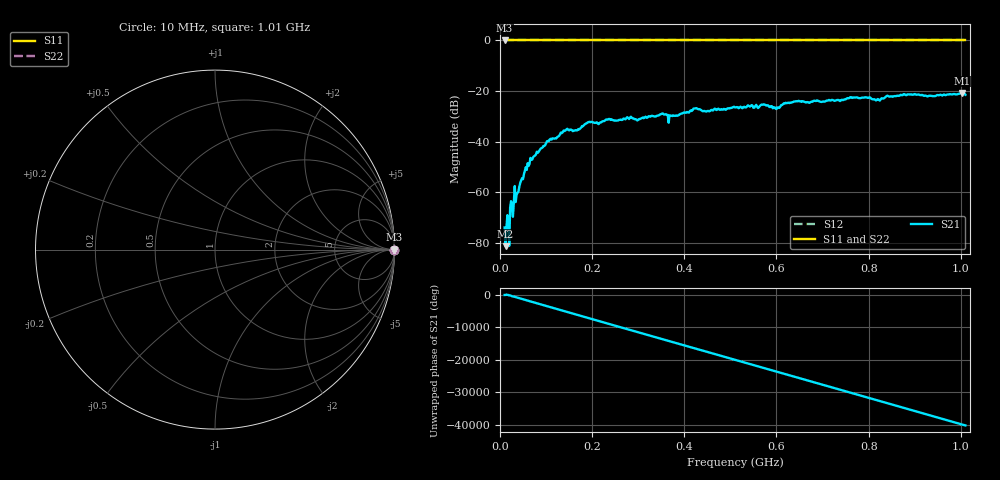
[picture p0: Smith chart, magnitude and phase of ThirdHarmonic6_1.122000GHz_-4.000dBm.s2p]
! 8/16/2025 10:48:09 AM
! C:\ANRITSUVNA\TEMP\TEMP.S2P
! CHANNEL.1
! TR.MEASUREMENT
! RAW.DATA
! RF.CORRECTION.OFF
! AVERAGING.OFF
! IF.BANDWIDTH: 5KHZ
! SWEEPTYPE:  FREQ.SWEEP(Linear)
! Reference Plane Port Info
! PORT:  PORT1  PORT2
! DISTANCE:  0  m  0  m
! TIME:  0  s  0  s
! PHASE.OFFSET:  0  deg.  0  deg.
! LOSS:  0  dB  0  dB
! REF.LOSS:  0  dB  0  dB
! REF.FREQ:  0  Hz  0  Hz
! Power Info
! POWER:  -20  dBm  -20  dBm
! EFF.POWER:  -20  dBm  -20  dBm
! SOURCE.ATTEN:  0  dB  0  dB
! TEST.ATTEN:  0  dB  0  dB
# GHZ S RI R 50.0
! FREQ.GHZ  S11RE  S11IM  S21RE  S21IM  S12RE  S12IM  S22RE  S22IM
!; PortSelection: Port_12
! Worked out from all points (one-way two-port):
!   501 points, 10 MHz to 1.01 GHz, reference 50 ohm
!   highest |S21| = -20.78 dB at 1.002 GHz (marker M1); lowest = -81.2 dB at 12 MHz (marker M2)
!   lowest |S11| = 0.0 dB at 10 MHz (marker M3)
!   |S11| at or under -10 dB: nowhere
!   |S22| runs from 0.0 to 0.0 dB; largest |S21 - S12| = 1.1
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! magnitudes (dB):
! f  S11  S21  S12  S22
! 10 MHz  0.0  -73.8  0.0  0.0
! 12 MHz  0.0  -81.2  0.0  0.0
! 16 MHz  0.0  -69.0  0.0  0.0
! 20 MHz  0.0  -81.1  0.0  0.0
! 24 MHz  0.0  -63.4  0.0  0.0
! 28 MHz  0.0  -69.6  0.0  0.0
! 56 MHz  0.0  -50.0  0.0  0.0
! 70 MHz  0.0  -47.0  0.0  0.0
! 106 MHz  0.0  -39.7  0.0  0.0
! 142 MHz  0.0  -35.5  0.0  0.0
! 178 MHz  0.0  -33.8  0.0  0.0
! 194 MHz  0.0  -32.1  0.0  0.0
! 344 MHz  0.0  -29.6  0.0  0.0
! 370 MHz  0.0  -29.7  0.0  0.0
! 510 MHz  0.0  -26.4  0.0  0.0
! 572 MHz  0.0  -25.2  0.0  0.0
! 602 MHz  0.0  -26.4  0.0  0.0
! 620 MHz  0.0  -24.6  0.0  0.0
! 678 MHz  0.0  -24.2  0.0  0.0
! 844 MHz  0.0  -22.1  0.0  0.0
! 1.002 GHz  0.0  -20.8  0.0  0.0
! 1.01 GHz  0.0  -21.4  0.0  0.0
